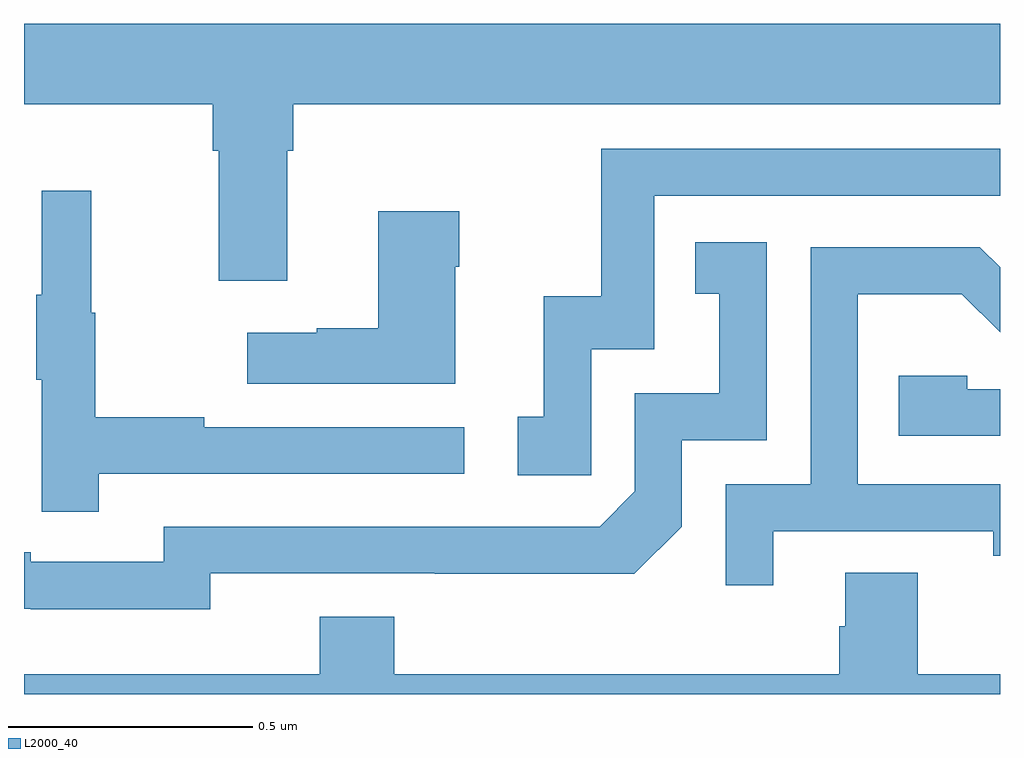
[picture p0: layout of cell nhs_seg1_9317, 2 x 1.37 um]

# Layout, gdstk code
import gdstk
lib = gdstk.Library(unit=1e-6, precision=1e-09)
def P(c, l, *ps):  # polygons
    for p in ps: c.add(gdstk.Polygon(p, *l))
L2000_40 = (2000, 40)

nhs_seg1_9317 = lib.new_cell('nhs_seg1_9317')
P(nhs_seg1_9317, L2000_40, [(227.539,542.312),(227.552,542.312),(227.552,542.408),(229,542.408),(229,542.572),(227,542.572),(227,542.408),(227.387,542.408),(227.387,542.312),(227.399,542.312),(227.399,542.046),(227.539,542.046)],
  [(228.162,541.905),(228.291,541.905),(228.291,542.22),(229,542.22),(229,542.316),(228.183,542.316),(228.183,542.014),(228.065,542.014),(228.065,541.767),(228.012,541.767),(228.012,541.647),(228.162,541.647)],
  [(227.153,541.65),(227.902,541.65),(227.902,541.746),(227.369,541.746),(227.369,541.766),(227.146,541.766),(227.146,541.98),(227.138,541.98),(227.138,542.23),(227.036,542.23),(227.036,542.017),(227.025,542.017),(227.025,541.843),(227.036,541.843),(227.036,541.572),(227.153,541.572)],
  [(227.884,542.075),(227.892,542.075),(227.892,542.188),(227.726,542.188),(227.726,541.949),(227.6,541.949),(227.6,541.939),(227.457,541.939),(227.457,541.835),(227.884,541.835)],
  [(227.382,541.446),(227.842,541.446),(227.842,541.445),(228.25,541.445),(228.348,541.542),(228.348,541.719),(228.522,541.719),(228.522,542.125),(228.376,542.125),(228.376,542.019),(228.425,542.019),(228.425,541.815),(228.252,541.815),(228.252,541.614),(228.18,541.542),(227.286,541.542),(227.286,541.47),(227.014,541.47),(227.014,541.49),(227,541.49),(227,541.374),(227.014,541.374),(227.014,541.373),(227.382,541.373)],
  [(228.535,541.533),(228.986,541.533),(228.986,541.482),(229,541.482),(229,541.629),(228.708,541.629),(228.708,542.018),(228.922,542.018),(229,541.94),(229,542.073),(228.958,542.115),(228.612,542.115),(228.612,541.629),(228.438,541.629),(228.438,541.422),(228.535,541.422)],
  [(229,541.824),(228.933,541.824),(228.933,541.851),(228.793,541.851),(228.793,541.728),(229,541.728)],
  [(229,541.24),(228.831,541.24),(228.831,541.448),(228.683,541.448),(228.683,541.338),(228.671,541.338),(228.671,541.24),(227.759,541.24),(227.759,541.357),(227.606,541.357),(227.606,541.24),(227,541.24),(227,541.199),(229,541.199)])

lib.write_gds('nhs_seg1_9317.gds')
